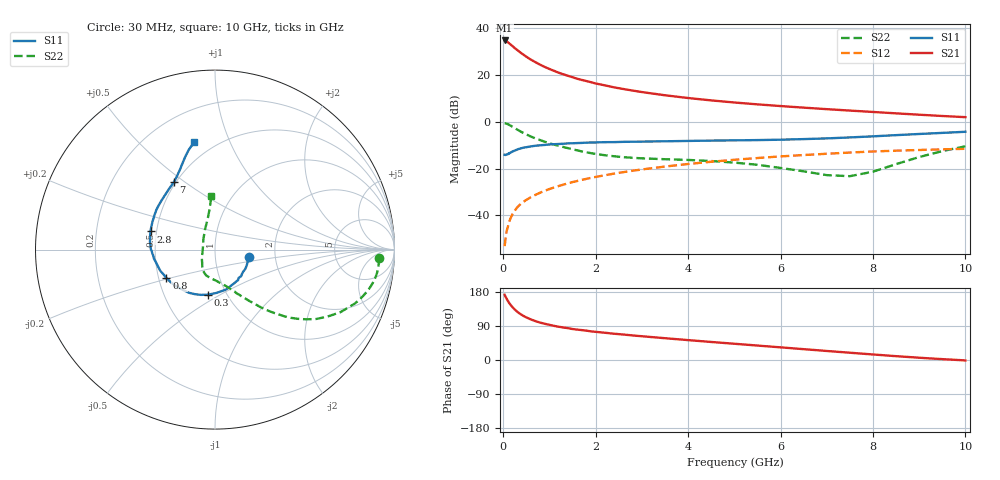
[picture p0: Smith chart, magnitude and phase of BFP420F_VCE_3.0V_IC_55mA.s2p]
! Infineon Technologies  Discrete & RF Semiconductors
! BFP420F
! VCE =  3.0 V,  IC =  55 mA
! Common Emitter S-Parameters:  Sep 2011
# GHz  S  MA  R  50
!  f  S11  S21  S12  S22
! GHz  MAG  ANG  MAG  ANG  MAG  ANG  MAG  ANG
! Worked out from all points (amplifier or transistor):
!   54 points, 30 MHz to 10 GHz, reference 50 ohm
!   highest |S21| = 34.7 dB at 30 MHz (marker M1)
!   |S21| within 3 dB of that: start of sweep to 235 MHz
!   unconditionally stable (mu >= 1): 1.213 GHz to end of sweep
!   at 120 MHz: K = 0.44, MSG = 38.4 dB, |S12| = -43.2 dB
!   at 1.3 GHz: K = 1.02, MAG = 22.7 dB, |S12| = -26.9 dB
!   at 10 GHz: K = 1.22, MAG = 3.9 dB, |S12| = -11.6 dB
!   S11 on the Smith chart (normalised r, x): 30 MHz: 1.47, -0.13; 300 MHz: 0.82, -0.44; 800 MHz: 0.55, -0.19; 2.8 GHz: 0.46, +0.11; 7 GHz: 0.49, +0.45; 10 GHz: 0.39, +0.75
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0.03  0.1968 -12.8  54.2 172.1  0.0022 95.9  0.9134 -2.9
0.05  0.1944 -19.6  52.94 167.0  0.0032 89.2  0.9154 -6.6
0.06  0.1971 -26.1  52.66 164.9  0.0036 83.4  0.9116 -8.4
0.08  0.2002 -33.2  51.06 160.3  0.0048 84.4  0.8995 -11.7
0.1  0.2026 -42.3  49.79 156.0  0.0056 81.0  0.8833 -14.7
0.13  0.2131 -52.8  46.88 150.2  0.0073 79.9  0.8537 -18.8
0.15  0.216 -60.2  45.22 146.9  0.0083 79.0  0.8329 -21.3
0.2  0.2309 -74.7  41.1 139.5  0.0106 76.1  0.7802 -26.6
0.25  0.2413 -87.8  37.25 133.1  0.0126 74.1  0.7278 -30.9
0.3  0.254 -98.6  34.11 127.7  0.0147 73.0  0.6817 -34.6
0.4  0.2727 -114.6  28.56 119.1  0.0182 71.2  0.5999 -40.0
0.5  0.2853 -126.7  24.36 112.4  0.0214 70.1  0.5341 -44.0
0.6  0.2973 -136.3  21.07 107.0  0.0245 69.7  0.4808 -47.1
0.8  0.3137 -149.7  16.45 98.6  0.0305 69.4  0.4036 -52.0
1.2  0.3341 -166.1  11.1 87.7  0.0424 69.0  0.3049 -59.9
1.7  0.3522 -178.4  7.781 78.9  0.0572 67.7  0.2321 -69.0
2.8  0.3732 164.3  4.616 64.8  0.0898 62.8  0.1695 -90.8
3.5  0.3815 156.0  3.664 57.5  0.1102 59.1  0.158 -101.7
5.5  0.4047 137.4  2.344 38.1  0.1676 46.4  0.1202 -126.1
7  0.4396 121.4  1.851 23.8  0.2066 36.2  0.0723 -165.8
8.5  0.5161 110.4  1.506 10.1  0.2406 25.2  0.124 116.9
10  0.6088 101.0  1.249 -1.1  0.2639 15.7  0.2986 93.9
